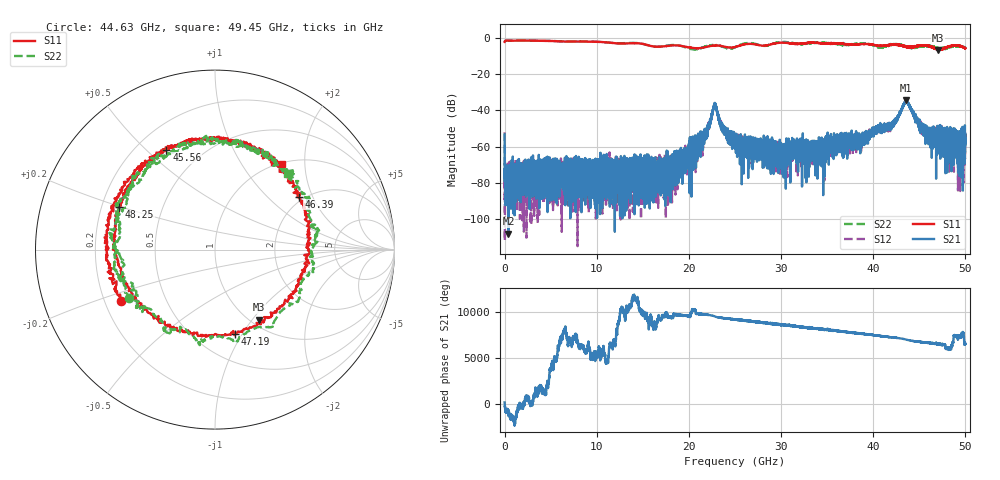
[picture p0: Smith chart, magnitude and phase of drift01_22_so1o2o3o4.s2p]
!Created with skrf (http://scikit-rf.org).
# Hz S RI R 50.0
!freq ReS11 ImS11 ReS21 ImS21 ReS12 ImS12 ReS22 ImS22
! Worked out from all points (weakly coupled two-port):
!   10001 points, 300 kHz to 50 GHz, reference 50 ohm
!   highest |S21| = -34.55 dB at 43.56 GHz (marker M1); lowest = -108.1 dB at 420.3 MHz (marker M2)
!   lowest |S11| = -6.7 dB at 47.07 GHz (marker M3), VSWR 2.71, Z = 54.5 - j54 ohm
!   |S11| at or under -10 dB: nowhere
!   |S22| runs from -6.5 to -1.4 dB; largest |S21 - S12| = 0.0037
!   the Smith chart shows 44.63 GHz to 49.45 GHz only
!   S11 on the Smith chart (normalised r, x): 44.63 GHz: 0.27, -0.24; 45.56 GHz: 0.32, +0.58; 46.39 GHz: 1.87, +1.58; 47.19 GHz: 0.76, -0.93; 48.25 GHz: 0.27, +0.20; 49.45 GHz: 1.03, +1.53
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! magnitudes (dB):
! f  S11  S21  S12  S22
! 300 kHz  -2.1  -53.4  -52.1  -2.1
! 255.3 MHz  -1.4  -78.1  -80.8  -1.4
! 420.3 MHz  -1.4  -108.1  -78.5  -1.4
! 8.335 GHz  -2.0  -79.7  -84.0  -1.8
! 16.67 GHz  -4.8  -70.5  -93.9  -4.8
! 20.94 GHz  -5.6  -65.7  -63.4  -6.1
! 21.86 GHz  -5.0  -51.3  -51.4  -4.6
! 22.8 GHz  -4.3  -36.1  -36.1  -4.0
! 23.65 GHz  -4.6  -50.2  -49.1  -4.7
! 25 GHz  -5.0  -57.1  -56.5  -5.1
! 29.63 GHz  -2.7  -58.8  -61.4  -2.5
! 33.34 GHz  -2.6  -66.2  -64.4  -2.7
! 41.67 GHz  -3.9  -48.0  -49.9  -4.4
! 43.56 GHz  -4.9  -34.6  -35.0  -4.8
! 44.63 GHz  -4.5  -44.7  -45.5  -5.2
! 45.56 GHz  -4.2  -50.7  -52.1  -4.4
! 46.39 GHz  -5.2  -57.6  -51.4  -4.8
! 47.07 GHz  -6.7  -59.0  -53.0  -5.5
! 47.19 GHz  -6.3  -48.3  -52.7  -6.1
! 48.25 GHz  -4.7  -57.7  -56.1  -4.7
! 49.45 GHz  -4.4  -57.2  -62.6  -4.7
! 50 GHz  -5.7  -56.8  -57.2  -5.4
